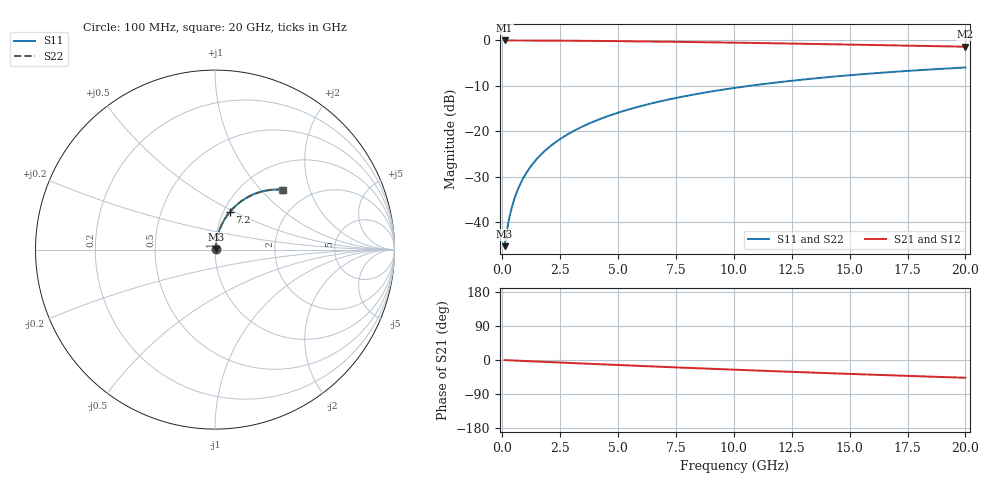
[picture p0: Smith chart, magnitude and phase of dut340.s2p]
! Touchstone file exported from HFSS 2026.1.0
!  File:  C:/ffzhzh/LocalFiles/Ansys_Project_Files/temp_train_TMRDL_340_1783003816_53980.aedt
!  Generated:  10:51:38 PM Jul  2, 2026
!  Design:  TMRDL
!  Project:  temp_train_TMRDL_340_1783003816_53980
! Variables:
!  h_bsmrdl = 2um
!  h_ox = 20um
!  h_rdl = 5um
!  h_sub = 80um
!  h_tmrdl = 5.43um
!  h_tsv = 80um
!  h_via = 3um
!  l_bsmrdl = 300um
!  l_sub = 1057.17um
!  l_tmrdl = 657.17um
!  m_sub = 200um
!  pitch = 42.71um
!  r_tsv = 6um
!  s_tmrdl = 10um
!  w_bsmrdl = 18um
!  w_sub = 500um
!  w_tmrdl = 10.05um
!  x_tsv_center1 = 662.195um
!  x_tsv_center2 = 980.195um
!  x_tsv_center3 = 1647.415um
!  x_tsv_center4 = 1965.415um
!  x_tsv_center5 = 2632.635um
!  x_tsv_center6 = 2950.635um
# GHz S MA R 50.000000
! Terminal data exported
! Port[1] = TM_RDL1_1_T1
! Port[2] = TM_RDL1_1_T2
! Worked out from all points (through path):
!   200 points, 100 MHz to 20 GHz, reference 50 ohm
!   highest |S21| = -0.04 dB at 100 MHz (marker M1); lowest = -1.4 dB at 20 GHz (marker M2)
!   group delay of S21, straight-line fit = 6.51 ps
!   lowest |S11| = -45.3 dB at 100 MHz (marker M3), VSWR 1.01, Z = 50.4 + j0.342 ohm
!   |S11| at or under -10 dB: start of sweep to 10.69 GHz
!   |S22| runs from -45.3 to -6.0 dB; largest |S21 - S12| = 2.7e-15
!   S11 on the Smith chart (normalised r, x): 100 MHz: 1.01, +0.01; 7.2 GHz: 1.07, +0.47; 20 GHz: 1.49, +1.33
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0.1  0.005462 38.4  0.9957 -0.3  0.9957 -0.3  0.005462 38.4
! Gamma 0 0 0 0
! Port Impedance 50 0 50 0
0.2  0.008062 57.0  0.9957 -0.6  0.9957 -0.6  0.008062 57.0
0.3  0.01107 65.7  0.9955 -0.8  0.9955 -0.8  0.01107 65.7
0.4  0.01421 70.5  0.9954 -1.1  0.9954 -1.1  0.01421 70.5
0.5  0.0174 73.5  0.9953 -1.4  0.9953 -1.4  0.0174 73.5
0.6  0.02062 75.4  0.9952 -1.6  0.9952 -1.6  0.02062 75.4
0.8  0.0271 77.8  0.9949 -2.2  0.9949 -2.2  0.0271 77.8
1.1  0.03687 79.4  0.9944 -3.0  0.9944 -3.0  0.03687 79.4
1.5  0.04991 80.0  0.9936 -4.1  0.9936 -4.1  0.04991 80.0
1.8  0.05966 80.0  0.9929 -4.9  0.9929 -4.9  0.05966 80.0
2.1  0.06938 79.7  0.992 -5.7  0.992 -5.7  0.06938 79.7
2.7  0.08866 78.8  0.99 -7.3  0.99 -7.3  0.08866 78.8
3.5  0.114 77.2  0.9867 -9.4  0.9867 -9.4  0.114 77.2
4.2  0.1357 75.6  0.9833 -11.2  0.9833 -11.2  0.1357 75.6
5  0.16 73.8  0.9789 -13.2  0.9789 -13.2  0.16 73.8
6.8  0.2127 69.6  0.9673 -17.8  0.9673 -17.8  0.2127 69.6
7.2  0.224 68.6  0.9644 -18.8  0.9644 -18.8  0.224 68.6
8.6  0.2624 65.4  0.9538 -22.2  0.9538 -22.2  0.2624 65.4
10.1  0.3014 62.0  0.9415 -25.8  0.9415 -25.8  0.3014 62.0
13.4  0.3793 54.7  0.912 -33.3  0.912 -33.3  0.3793 54.7
16.7  0.4462 47.9  0.8809 -40.3  0.8809 -40.3  0.4462 47.9
20  0.5024 41.5  0.8503 -46.9  0.8503 -46.9  0.5024 41.5
